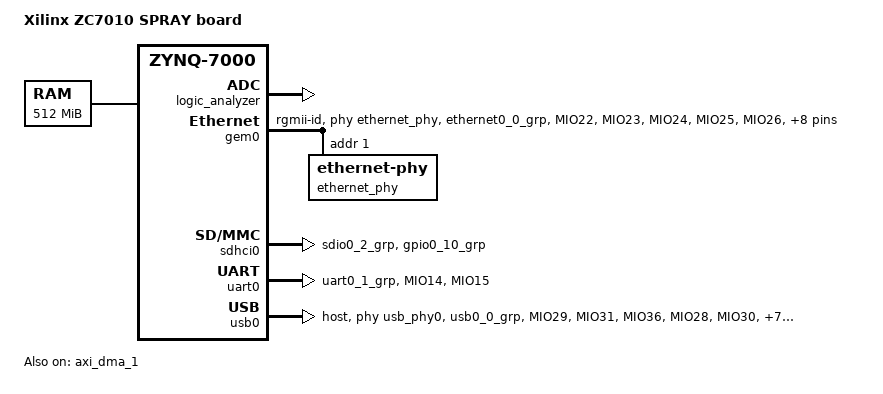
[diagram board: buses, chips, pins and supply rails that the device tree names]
// SPDX-License-Identifier: GPL-2.0+
/*
 *  Copyright (C) 2011 - 2015 Xilinx
 *  Copyright (C) 2012 National Instruments Corp.
 */
/dts-v1/;
#include "zynq-7000.dtsi"
#include <dt-bindings/gpio/gpio.h>

/ {
	model = "Xilinx ZC7010 SPRAY board";
	compatible = "xlnx,zynq-zc702", "xlnx,zynq-7000";

	aliases {
		ethernet0 = &gem0;
		// i2c0 = &i2c0;
		serial0 = &uart0;
		// spi0 = &qspi;
		mmc0 = &sdhci0;
		usb0 = &usb0;
		// nvmem0 = &eeprom;
		// rtc0 = &rtc;
	};

	memory@0 {
		device_type = "memory";
		reg = <0x0 0x20000000>;
	};

	chosen {
		bootargs = "";
		stdout-path = "serial0:115200n8";
	};

	usb_phy0: phy0@e0002000 {
		compatible = "ulpi-phy";
		#phy-cells = <0>;
		reg = <0xe0002000 0x1000>;
		view-port = <0x0170>;
		drv-vbus;
	};
  
logic_analyzer: adc_axi_dma@1 {
    #address-cells = <1>;
		#size-cells = <1>;
		status = "okay";
    compatible ="zynq_logic_analyzer";
    dmas = <&axi_dma_1 1>;
    dma-names = "rx";
    reg = <0x60000000 0x20>;
    clocks = <&clkc 15>;
} ;

amba_pl: amba_pl {
		ranges;
		compatible = "simple-bus";
		#address-cells = <1>;
		#size-cells = <1>;
		axi_dma_1: axi_dma@40400000 {
      #dma-cells = <1>;
			xlnx,dlytmr-resolution = <125>;
			xlnx,num-s2mm-channels = <1>;
			xlnx,rable = <0>;
			xlnx,sg-length-width = <14>;
			xlnx,ip-name = "axi_dma";
			reg = <0x40400000 0x10000>;
			xlnx,sg-use-stsapp-length = <0>;
			xlnx,s2mm-burst-size = <256>;
			xlnx,c-dlytmr-resolution = <125>;
			xlnx,c-num-s2mm-channels = <1>;
			xlnx,enable-multi-channel = <0>;
			xlnx,num-mm2s-channels = <1>;
			xlnx,c-sg-length-width = <14>;
			interrupt-names = "s2mm_introut";
			compatible = "xlnx,axi-dma-7.1" , "xlnx,axi-dma-1.00.a";
			xlnx,c-m-axis-mm2s-tdata-width = <32>;
			xlnx,c-sg-use-stsapp-length = <0>;
			xlnx,c-s2mm-burst-size = <256>;
			xlnx,mm2s-burst-size = <16>;
			xlnx,c-enable-multi-channel = <0>;
			xlnx,c-num-mm2s-channels = <1>;
			interrupt-parent = <&intc>;
			xlnx,include-s2mm-dre = <0>;
			xlnx,c-mm2s-burst-size = <16>;
			status = "okay";
			xlnx,c-include-s2mm-dre = <0>;
			xlnx,include-mm2s-dre = <0>;
			xlnx,name = "axi_dma_0";
			interrupts = < 0 29 4 >;
			xlnx,c-include-sg = <0>;
			xlnx,c-m-axi-s2mm-data-width = <32>;
			xlnx,include-s2mm-sf = <1>;
			xlnx,c-include-mm2s-dre = <0>;
			xlnx,include-s2mm = <1>;
			clocks = <&clkc 15>, <&clkc 15>;
			xlnx,addrwidth = <0x20>;
			xlnx,c-m-axi-mm2s-data-width = <32>;
			xlnx,edk-iptype = "PERIPHERAL";
			xlnx,c-include-s2mm-sf = <1>;
			xlnx,include-mm2s-sf = <1>;
			clock-names = "m_axi_s2mm_aclk" , "s_axi_lite_aclk";
			xlnx,c-include-s2mm = <1>;
			xlnx,c-addr-width = <32>;
			xlnx,c-single-interface = <0>;
			xlnx,include-mm2s = <0>;
			xlnx,c-s-axis-s2mm-tdata-width = <16>;
			xlnx,s2mm-data-width = <0x20>;
			xlnx,c-include-mm2s-sf = <1>;
			xlnx,prmry-is-aclk-async = <0>;
			xlnx,c-include-mm2s = <0>;
			xlnx,increase-throughput = <0>;
			xlnx,micro-dma = <0>;
			xlnx,mm2s-data-width = <0x20>;
			xlnx,c-prmry-is-aclk-async = <0>;
			xlnx,c-sg-include-stscntrl-strm = <0>;
			xlnx,c-increase-throughput = <0>;
			xlnx,c-micro-dma = <0>;
			dma_channel_40400030: dma-channel@40400030 {
				interrupts = <0 29 4>;
				xlnx,datawidth = <0x10>;
				xlnx,device-id = <0x0>;
				compatible = "xlnx,axi-dma-s2mm-channel";
				dma-channels = <0x1>;
			};
		};
	
	};
};

&clkc {
	ps-clk-frequency = <33333333>;
};

&gem0 {
	status = "okay";
	phy-mode = "rgmii-id";
	phy-handle = <&ethernet_phy>;
	pinctrl-names = "default";
	pinctrl-0 = <&pinctrl_gem0_default>;
	// phy-reset-gpio = <&gpio0 11 0>;
	// phy-reset-active-low;

	ethernet_phy: ethernet-phy@1 {
		reg = <1>;
	};
};

&pinctrl0 {
	pinctrl_gem0_default: gem0-default {
		mux {
			function = "ethernet0";
			groups = "ethernet0_0_grp";
		};

		conf {
			groups = "ethernet0_0_grp";
			slew-rate = <0>;
			power-source = <1>;
		};

		conf-rx {
			pins = "MIO22", "MIO23", "MIO24", "MIO25", "MIO26", "MIO27";
			bias-high-impedance;
			low-power-disable;
		};

		conf-tx {
			pins = "MIO16", "MIO17", "MIO18", "MIO19", "MIO20", "MIO21";
			bias-disable;
			low-power-enable;
		};

		mux-mdio {
			function = "mdio0";
			groups = "mdio0_0_grp";
		};

		conf-mdio {
			groups = "mdio0_0_grp";
			slew-rate = <0>;
			power-source = <1>;
			bias-disable;
		};
	};


	pinctrl_sdhci0_default: sdhci0-default {
		mux {
			groups = "sdio0_2_grp";
			function = "sdio0";
		};

		conf {
			groups = "sdio0_2_grp";
			slew-rate = <0>;
			power-source = <1>;
			bias-disable;
		};

		mux-cd {
			groups = "gpio0_10_grp";
			function = "sdio0_cd";
		};

		conf-cd {
			groups = "gpio0_10_grp";
			bias-high-impedance;
			bias-pull-up;
			slew-rate = <0>;
			power-source = <3>;
		};

		// mux-wp {
		// 	groups = "gpio0_15_grp";
		// 	function = "sdio0_wp";
		// };

		// conf-wp {
		// 	groups = "gpio0_15_grp";
		// 	bias-high-impedance;
		// 	bias-pull-up;
		// 	slew-rate = <0>;
		// 	power-source = <1>;
		// };
	};

	pinctrl_uart0_default: uart0-default {
		mux {
			groups = "uart0_1_grp";
			function = "uart0";
		};

		conf {
			groups = "uart0_1_grp";
			slew-rate = <0>;
			power-source = <3>;
		};

		conf-rx {
			pins = "MIO14";
			bias-high-impedance;
		};

		conf-tx {
			pins = "MIO15";
			bias-disable;
		};
	};

	pinctrl_usb0_default: usb0-default {
		mux {
			groups = "usb0_0_grp";
			function = "usb0";
		};

		conf {
			groups = "usb0_0_grp";
			slew-rate = <0>;
			power-source = <1>;
		};

		conf-rx {
			pins = "MIO29", "MIO31", "MIO36";
			bias-high-impedance;
		};

		conf-tx {
			pins = "MIO28", "MIO30", "MIO32", "MIO33", "MIO34",
			       "MIO35", "MIO37", "MIO38", "MIO39";
			bias-disable;
		};
	};
};

&sdhci0 {
	bootph-all;
	status = "okay";
	pinctrl-names = "default";
	pinctrl-0 = <&pinctrl_sdhci0_default>;
};

&uart0 {
	bootph-all;
	status = "okay";
	pinctrl-names = "default";
	pinctrl-0 = <&pinctrl_uart0_default>;
};

&usb0 {
	status = "okay";
	dr_mode = "host";
	usb-phy = <&usb_phy0>;
	pinctrl-names = "default";
	pinctrl-0 = <&pinctrl_usb0_default>;
};
